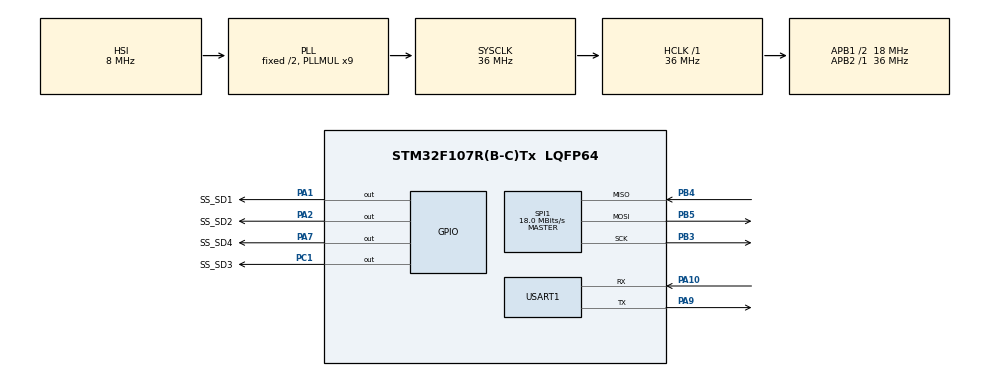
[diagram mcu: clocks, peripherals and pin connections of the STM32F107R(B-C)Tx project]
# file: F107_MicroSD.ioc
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Dma.Request0=SPI1_RX
Dma.Request1=SPI1_TX
Dma.SPI1_RX.0.Direction=DMA_PERIPH_TO_MEMORY
Dma.SPI1_RX.0.Instance=DMA1_Channel2
Dma.SPI1_RX.0.MemDataAlignment=DMA_MDATAALIGN_BYTE
Dma.SPI1_RX.0.MemInc=DMA_MINC_ENABLE
Dma.SPI1_RX.0.Mode=DMA_NORMAL
Dma.SPI1_RX.0.PeriphDataAlignment=DMA_PDATAALIGN_BYTE
Dma.SPI1_RX.0.PeriphInc=DMA_PINC_DISABLE
Dma.SPI1_RX.0.Priority=DMA_PRIORITY_LOW
Dma.SPI1_TX.1.Direction=DMA_MEMORY_TO_PERIPH
Dma.SPI1_TX.1.Instance=DMA1_Channel3
Dma.SPI1_TX.1.MemDataAlignment=DMA_MDATAALIGN_BYTE
Dma.SPI1_TX.1.MemInc=DMA_MINC_ENABLE
Dma.SPI1_TX.1.Mode=DMA_NORMAL
Dma.SPI1_TX.1.PeriphDataAlignment=DMA_PDATAALIGN_BYTE
Dma.SPI1_TX.1.PeriphInc=DMA_PINC_DISABLE
Dma.SPI1_TX.1.Priority=DMA_PRIORITY_LOW
FREERTOS.Tasks01=defaultTask,0,512,StartDefaultTask,Default,NULL,Dynamic,NULL,NULL
FREERTOS.configTOTAL_HEAP_SIZE=12000
FREERTOS.configUSE_NEWLIB_REENTRANT=1
Mcu.Family=STM32F1
Mcu.Name=STM32F107R(B-C)Tx
Mcu.Package=LQFP64
NVIC.DMA1_Channel2_IRQn=true\:5\:0\:false\:false\:true\:true\:false\:true\:true
NVIC.DMA1_Channel3_IRQn=true\:5\:0\:false\:false\:true\:true\:false\:true\:true
NVIC.PriorityGroup=NVIC_PRIORITYGROUP_4
NVIC.SPI1_IRQn=true\:5\:0\:false\:false\:true\:true\:true\:true\:true
NVIC.TIM1_UP_IRQn=true\:15\:0\:false\:false\:true\:false\:false\:true\:true
NVIC.TimeBase=TIM1_UP_IRQn
NVIC.TimeBaseIP=TIM1
NVIC.USART1_IRQn=true\:5\:0\:false\:false\:true\:true\:true\:true\:true
PA1.GPIO_Label=SS_SD1
PA1.GPIO_Speed=GPIO_SPEED_FREQ_HIGH
PA1.PinState=GPIO_PIN_SET
PA1.Signal=GPIO_Output
PA10.Mode=Asynchronous
PA10.Signal=USART1_RX
PA13.Mode=Serial_Wire
PA13.Signal=SYS_JTMS-SWDIO
PA14.Mode=Serial_Wire
PA14.Signal=SYS_JTCK-SWCLK
PA2.GPIO_Label=SS_SD2
PA2.GPIO_Speed=GPIO_SPEED_FREQ_HIGH
PA2.PinState=GPIO_PIN_SET
PA2.Signal=GPIO_Output
PA7.GPIO_Label=SS_SD4
PA7.GPIO_Speed=GPIO_SPEED_FREQ_HIGH
PA7.PinState=GPIO_PIN_SET
PA7.Signal=GPIO_Output
PA9.Mode=Asynchronous
PA9.Signal=USART1_TX
PB3.Mode=Full_Duplex_Master
PB3.Signal=SPI1_SCK
PB4.Mode=Full_Duplex_Master
PB4.Signal=SPI1_MISO
PB5.Mode=Full_Duplex_Master
PB5.Signal=SPI1_MOSI
PC1.GPIO_Label=SS_SD3
PC1.GPIO_Speed=GPIO_SPEED_FREQ_HIGH
PC1.PinState=GPIO_PIN_SET
PC1.Signal=GPIO_Output
PD0-OSC_IN.Mode=HSE-External-Oscillator
PD0-OSC_IN.Signal=RCC_OSC_IN
PD1-OSC_OUT.Mode=HSE-External-Oscillator
PD1-OSC_OUT.Signal=RCC_OSC_OUT
ProjectManager.HeapSize=0x200
ProjectManager.StackSize=0x400
ProjectManager.TargetToolchain=STM32CubeIDE
RCC.AHBFreq_Value=36000000
RCC.APB1CLKDivider=RCC_HCLK_DIV2
RCC.APB1Freq_Value=18000000
RCC.APB1TimFreq_Value=36000000
RCC.APB2Freq_Value=36000000
RCC.APB2TimFreq_Value=36000000
RCC.HCLKFreq_Value=36000000
RCC.HSE_VALUE=10000000
RCC.PLLMUL=RCC_PLL_MUL9
RCC.SYSCLKFreq_VALUE=36000000
RCC.SYSCLKSource=RCC_SYSCLKSOURCE_PLLCLK
RCC.USBFreq_Value=24000000
SPI1.BaudRatePrescaler=SPI_BAUDRATEPRESCALER_2
SPI1.CLKPhase=SPI_PHASE_1EDGE
SPI1.CLKPolarity=SPI_POLARITY_LOW
SPI1.CalculateBaudRate=18.0 MBits/s
SPI1.Direction=SPI_DIRECTION_2LINES
SPI1.Mode=SPI_MODE_MASTER
SPI1.VirtualType=VM_MASTER
USART1.VirtualMode=VM_ASYNC
VP_FREERTOS_VS_CMSIS_V1.Mode=CMSIS_V1
VP_SYS_VS_tim1.Mode=TIM1
board=custom

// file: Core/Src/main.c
/* USER CODE BEGIN Header */
/**
  ******************************************************************************
  * @file           : main.c
  * @brief          : Main program body
  ******************************************************************************
  * @attention
  *
  * Copyright (c) 2022 STMicroelectronics.
  * All rights reserved.
  *
  * This software is licensed under terms that can be found in the LICENSE file
  * in the root directory of this software component.
  * If no LICENSE file comes with this software, it is provided AS-IS.
  *
  ******************************************************************************
  */
/* USER CODE END Header */
#include "main.h"
#include "cmsis_os.h"

/* USER CODE BEGIN Includes */
#include "string.h"
#include "em_sd_storage.h"
/* USER CODE END Includes */

SPI_HandleTypeDef hspi1;
DMA_HandleTypeDef hdma_spi1_rx;
DMA_HandleTypeDef hdma_spi1_tx;

UART_HandleTypeDef huart1;

osThreadId defaultTaskHandle;
/* USER CODE BEGIN PV */
sd_storage_t microsd_storage;

uint8_t system_status;
uint32_t file_bytes_left;
uint32_t disk_kbytes_left;
uint32_t tick1,tick2;
/* USER CODE END PV */

void SystemClock_Config(void);
static void MX_GPIO_Init(void);
static void MX_DMA_Init(void);
static void MX_USART1_UART_Init(void);
static void MX_SPI1_Init(void);
void StartDefaultTask(void const * argument);

int main(void)
{

  /* MCU Configuration--------------------------------------------------------*/

  /* Reset of all peripherals, Initializes the Flash interface and the Systick. */
  HAL_Init();

  /* Configure the system clock */
  SystemClock_Config();

  /* Initialize all configured peripherals */
  MX_GPIO_Init();
  MX_DMA_Init();
  MX_USART1_UART_Init();
  MX_SPI1_Init();

  /* Create the thread(s) */
  /* definition and creation of defaultTask */
  osThreadDef(defaultTask, StartDefaultTask, osPriorityNormal, 0, 512);
  defaultTaskHandle = osThreadCreate(osThread(defaultTask), NULL);

  /* Start scheduler */
  osKernelStart();

  /* We should never get here as control is now taken by the scheduler */
  /* Infinite loop */
  while (1)
  {

  }
}

void SystemClock_Config(void)
{
  RCC_OscInitTypeDef RCC_OscInitStruct = {0};
  RCC_ClkInitTypeDef RCC_ClkInitStruct = {0};

  /** Initializes the RCC Oscillators according to the specified parameters
  * in the RCC_OscInitTypeDef structure.
  */
  RCC_OscInitStruct.OscillatorType = RCC_OSCILLATORTYPE_HSI;
  RCC_OscInitStruct.HSIState = RCC_HSI_ON;
  RCC_OscInitStruct.HSICalibrationValue = RCC_HSICALIBRATION_DEFAULT;
  RCC_OscInitStruct.Prediv1Source = RCC_PREDIV1_SOURCE_HSE;
  RCC_OscInitStruct.PLL.PLLState = RCC_PLL_ON;
  RCC_OscInitStruct.PLL.PLLSource = RCC_PLLSOURCE_HSI_DIV2;
  RCC_OscInitStruct.PLL.PLLMUL = RCC_PLL_MUL9;
  RCC_OscInitStruct.PLL2.PLL2State = RCC_PLL_NONE;
  if (HAL_RCC_OscConfig(&RCC_OscInitStruct) != HAL_OK)
  {
    Error_Handler();
  }

  /** Initializes the CPU, AHB and APB buses clocks
  */
  RCC_ClkInitStruct.ClockType = RCC_CLOCKTYPE_HCLK|RCC_CLOCKTYPE_SYSCLK
                              |RCC_CLOCKTYPE_PCLK1|RCC_CLOCKTYPE_PCLK2;
  RCC_ClkInitStruct.SYSCLKSource = RCC_SYSCLKSOURCE_PLLCLK;
  RCC_ClkInitStruct.AHBCLKDivider = RCC_SYSCLK_DIV1;
  RCC_ClkInitStruct.APB1CLKDivider = RCC_HCLK_DIV2;
  RCC_ClkInitStruct.APB2CLKDivider = RCC_HCLK_DIV1;

  if (HAL_RCC_ClockConfig(&RCC_ClkInitStruct, FLASH_LATENCY_1) != HAL_OK)
  {
    Error_Handler();
  }

  /** Configure the Systick interrupt time
  */
  __HAL_RCC_PLLI2S_ENABLE();
}

static void MX_SPI1_Init(void)
{

  /* SPI1 parameter configuration*/
  hspi1.Instance = SPI1;
  hspi1.Init.Mode = SPI_MODE_MASTER;
  hspi1.Init.Direction = SPI_DIRECTION_2LINES;
  hspi1.Init.DataSize = SPI_DATASIZE_8BIT;
  hspi1.Init.CLKPolarity = SPI_POLARITY_LOW;
  hspi1.Init.CLKPhase = SPI_PHASE_1EDGE;
  hspi1.Init.NSS = SPI_NSS_SOFT;
  hspi1.Init.BaudRatePrescaler = SPI_BAUDRATEPRESCALER_2;
  hspi1.Init.FirstBit = SPI_FIRSTBIT_MSB;
  hspi1.Init.TIMode = SPI_TIMODE_DISABLE;
  hspi1.Init.CRCCalculation = SPI_CRCCALCULATION_DISABLE;
  hspi1.Init.CRCPolynomial = 10;
  if (HAL_SPI_Init(&hspi1) != HAL_OK)
  {
    Error_Handler();
  }

}

static void MX_USART1_UART_Init(void)
{

  huart1.Instance = USART1;
  huart1.Init.BaudRate = 115200;
  huart1.Init.WordLength = UART_WORDLENGTH_8B;
  huart1.Init.StopBits = UART_STOPBITS_1;
  huart1.Init.Parity = UART_PARITY_NONE;
  huart1.Init.Mode = UART_MODE_TX_RX;
  huart1.Init.HwFlowCtl = UART_HWCONTROL_NONE;
  huart1.Init.OverSampling = UART_OVERSAMPLING_16;
  if (HAL_UART_Init(&huart1) != HAL_OK)
  {
    Error_Handler();
  }

}

static void MX_DMA_Init(void)
{

  /* DMA controller clock enable */
  __HAL_RCC_DMA1_CLK_ENABLE();

  /* DMA interrupt init */
  /* DMA1_Channel2_IRQn interrupt configuration */
  HAL_NVIC_SetPriority(DMA1_Channel2_IRQn, 5, 0);
  HAL_NVIC_EnableIRQ(DMA1_Channel2_IRQn);
  /* DMA1_Channel3_IRQn interrupt configuration */
  HAL_NVIC_SetPriority(DMA1_Channel3_IRQn, 5, 0);
  HAL_NVIC_EnableIRQ(DMA1_Channel3_IRQn);

}

static void MX_GPIO_Init(void)
{
  GPIO_InitTypeDef GPIO_InitStruct = {0};

  /* GPIO Ports Clock Enable */
  __HAL_RCC_GPIOD_CLK_ENABLE();
  __HAL_RCC_GPIOC_CLK_ENABLE();
  __HAL_RCC_GPIOA_CLK_ENABLE();
  __HAL_RCC_GPIOB_CLK_ENABLE();

  /*Configure GPIO pin Output Level */
  HAL_GPIO_WritePin(SS_SD3_GPIO_Port, SS_SD3_Pin, GPIO_PIN_SET);

  /*Configure GPIO pin Output Level */
  HAL_GPIO_WritePin(GPIOA, SS_SD1_Pin|SS_SD2_Pin|SS_SD4_Pin, GPIO_PIN_SET);

  /*Configure GPIO pin : SS_SD3_Pin */
  GPIO_InitStruct.Pin = SS_SD3_Pin;
  GPIO_InitStruct.Mode = GPIO_MODE_OUTPUT_PP;
  GPIO_InitStruct.Pull = GPIO_NOPULL;
  GPIO_InitStruct.Speed = GPIO_SPEED_FREQ_HIGH;
  HAL_GPIO_Init(SS_SD3_GPIO_Port, &GPIO_InitStruct);

  /*Configure GPIO pins : SS_SD1_Pin SS_SD2_Pin SS_SD4_Pin */
  GPIO_InitStruct.Pin = SS_SD1_Pin|SS_SD2_Pin|SS_SD4_Pin;
  GPIO_InitStruct.Mode = GPIO_MODE_OUTPUT_PP;
  GPIO_InitStruct.Pull = GPIO_NOPULL;
  GPIO_InitStruct.Speed = GPIO_SPEED_FREQ_HIGH;
  HAL_GPIO_Init(GPIOA, &GPIO_InitStruct);

}

void StartDefaultTask(void const * argument)
{
  /* USER CODE BEGIN 5 */
  osDelay(500);
  char info_msg[30];

  sprintf(info_msg,"Wait for storage init....\r");
  HAL_UART_Transmit(&huart1,info_msg,strlen(info_msg),100);

  sd_storage_link_ss(&microsd_storage,0,SS_SD1_Pin,GPIOA);
  sd_storage_link_ss(&microsd_storage,1,SS_SD2_Pin,GPIOA);
  sd_storage_link_ss(&microsd_storage,2,SS_SD3_Pin,SS_SD3_GPIO_Port);
  sd_storage_link_ss(&microsd_storage,3,SS_SD4_Pin,GPIOA);

  sprintf(info_msg,"init hw....\r");
  HAL_UART_Transmit(&huart1,info_msg,strlen(info_msg),100);

  while(sd_storage_init(&microsd_storage)!=F_OK){
	HAL_UART_Transmit(&huart1,info_msg,strlen(info_msg),100);
	osDelay(1000);
  }

  sprintf(info_msg,"detected %d cards.\r",microsd_storage.num_of_discs);
  HAL_UART_Transmit(&huart1,info_msg,strlen(info_msg),100);

  sprintf(info_msg,"Free space  %u.\r",microsd_storage.disks[microsd_storage.active_disk_indx].free_space);
  HAL_UART_Transmit(&huart1,info_msg,strlen(info_msg),100);

  char file_name[20];
  sprintf(file_name,"%d:test.txt",microsd_storage.active_disk_indx);

  FIL      file;
  uint32_t  byteswritten;
  uint8_t rx_buf[10];

  f_open(&file,file_name,FA_CREATE_ALWAYS|FA_WRITE);

  f_write(&file,"TEST",4,(UINT*)&byteswritten);

  f_close(&file);

  f_open(&file,file_name,FA_READ);
  f_read(&file,rx_buf,4,(UINT*)&byteswritten);

  HAL_UART_Transmit(&huart1,rx_buf,4,100);
  /* Infinite loop */
  for(;;)
  {
    osDelay(1);
  }
  /* USER CODE END 5 */
}

void HAL_TIM_PeriodElapsedCallback(TIM_HandleTypeDef *htim)
{
  if (htim->Instance == TIM1) {
    HAL_IncTick();
  }
}

void Error_Handler(void)
{
  __disable_irq();
  while (1)
  {
  }
}
